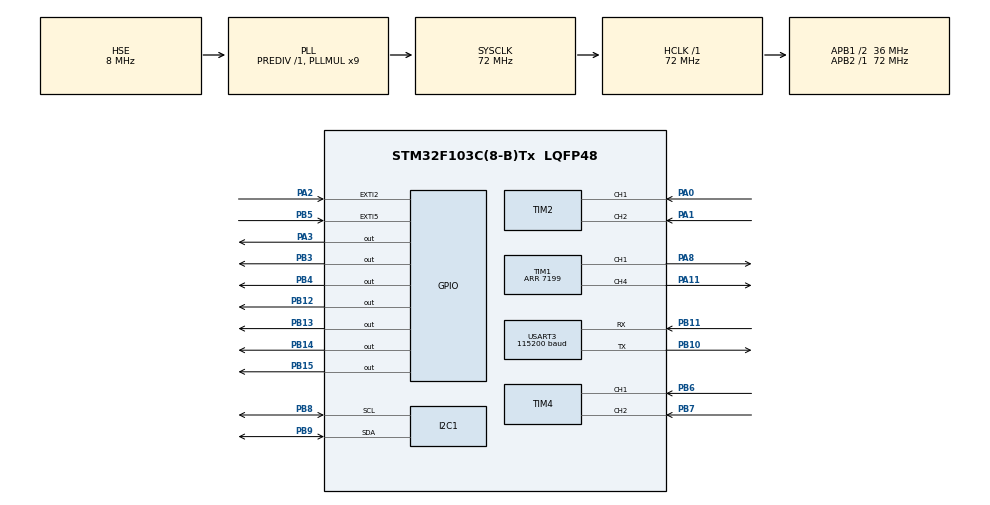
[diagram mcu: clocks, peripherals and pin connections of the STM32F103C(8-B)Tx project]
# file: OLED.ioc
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Mcu.Family=STM32F1
Mcu.Name=STM32F103C(8-B)Tx
Mcu.Package=LQFP48
NVIC.EXTI2_IRQn=true\:0\:0\:false\:false\:true\:true\:true\:true
NVIC.EXTI9_5_IRQn=true\:0\:0\:false\:false\:true\:true\:true\:true
NVIC.PriorityGroup=NVIC_PRIORITYGROUP_4
NVIC.USART3_IRQn=true\:0\:0\:false\:false\:true\:true\:true\:true
PA0-WKUP.Signal=S_TIM2_CH1_ETR
PA1.Signal=S_TIM2_CH2
PA11.Signal=S_TIM1_CH4
PA13.Mode=Serial_Wire
PA13.Signal=SYS_JTMS-SWDIO
PA14.Mode=Serial_Wire
PA14.Signal=SYS_JTCK-SWCLK
PA2.GPIO_ModeDefaultEXTI=GPIO_MODE_IT_RISING_FALLING
PA2.Signal=GPXTI2
PA3.GPIO_Speed=GPIO_SPEED_FREQ_HIGH
PA3.Signal=GPIO_Output
PA8.Signal=S_TIM1_CH1
PB10.Mode=Asynchronous
PB10.Signal=USART3_TX
PB11.Mode=Asynchronous
PB11.Signal=USART3_RX
PB12.Signal=GPIO_Output
PB13.Signal=GPIO_Output
PB14.Signal=GPIO_Output
PB15.Signal=GPIO_Output
PB3.Signal=GPIO_Output
PB4.Signal=GPIO_Output
PB5.GPIO_ModeDefaultEXTI=GPIO_MODE_IT_FALLING
PB5.GPIO_PuPd=GPIO_PULLUP
PB5.Signal=GPXTI5
PB6.Signal=S_TIM4_CH1
PB7.Signal=S_TIM4_CH2
PB8.Mode=I2C
PB8.Signal=I2C1_SCL
PB9.Mode=I2C
PB9.Signal=I2C1_SDA
PC14-OSC32_IN.Mode=LSE-External-Oscillator
PC14-OSC32_IN.Signal=RCC_OSC32_IN
PC15-OSC32_OUT.Mode=LSE-External-Oscillator
PC15-OSC32_OUT.Signal=RCC_OSC32_OUT
PD0-OSC_IN.Mode=HSE-External-Oscillator
PD0-OSC_IN.Signal=RCC_OSC_IN
PD1-OSC_OUT.Mode=HSE-External-Oscillator
PD1-OSC_OUT.Signal=RCC_OSC_OUT
ProjectManager.HeapSize=0x200
ProjectManager.StackSize=0x400
ProjectManager.TargetToolchain=MDK-ARM V5.32
RCC.AHBFreq_Value=72000000
RCC.APB1CLKDivider=RCC_HCLK_DIV2
RCC.APB1Freq_Value=36000000
RCC.APB1TimFreq_Value=72000000
RCC.APB2Freq_Value=72000000
RCC.APB2TimFreq_Value=72000000
RCC.HCLKFreq_Value=72000000
RCC.PLLMUL=RCC_PLL_MUL9
RCC.PLLSourceVirtual=RCC_PLLSOURCE_HSE
RCC.SYSCLKFreq_VALUE=72000000
RCC.SYSCLKSource=RCC_SYSCLKSOURCE_PLLCLK
RCC.USBFreq_Value=72000000
SH.S_TIM1_CH1.0=TIM1_CH1,PWM Generation1 CH1
SH.S_TIM1_CH4.0=TIM1_CH4,PWM Generation4 CH4
SH.S_TIM2_CH1_ETR.0=TIM2_CH1,Encoder_Interface
SH.S_TIM2_CH2.0=TIM2_CH2,Encoder_Interface
SH.S_TIM4_CH1.0=TIM4_CH1,Encoder_Interface
SH.S_TIM4_CH2.0=TIM4_CH2,Encoder_Interface
TIM1.Channel-PWM\ Generation1\ CH1=TIM_CHANNEL_1
TIM1.Channel-PWM\ Generation4\ CH4=TIM_CHANNEL_4
TIM1.Period=7199
TIM1.Pulse-PWM\ Generation1\ CH1=7200
TIM2.EncoderMode=TIM_ENCODERMODE_TI12
TIM3.Prescaler=71
TIM4.EncoderMode=TIM_ENCODERMODE_TI12
USART3.BaudRate=115200
USART3.VirtualMode=VM_ASYNC
VP_TIM3_VS_ClockSourceINT.Mode=Internal
board=custom

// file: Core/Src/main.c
/* USER CODE BEGIN Header */
/**
  ******************************************************************************
  * @file           : main.c
  * @brief          : Main program body
  ******************************************************************************
  * @attention
  *
  * Copyright (c) 2024 STMicroelectronics.
  * All rights reserved.
  *
  * This software is licensed under terms that can be found in the LICENSE file
  * in the root directory of this software component.
  * If no LICENSE file comes with this software, it is provided AS-IS.
  *
  ******************************************************************************
  */
/* USER CODE END Header */
#include "main.h"
#include "i2c.h"
#include "tim.h"
#include "usart.h"
#include "gpio.h"

/* USER CODE BEGIN Includes */
#include "oled.h"
#include "IIC.h"
#include "inv_mpu.h"
#include "inv_mpu_dmp_motion_driver.h"
#include "mpu6050.h"
#if OLED_ENABLE
#include "stdio.h"
#endif
#include "sr04.h"
#include "motor.h"
#include "encoder.h"
#include "pid.h"
#include "comm.h"
#include "comm_echo.h"
#include "cali_store.h"
/* USER CODE END Includes */

/* USER CODE BEGIN PV */
extern float roll;
extern short gyrox, gyroy, gyroz;
extern int Encoder_Left, Encoder_Right;
extern int gyrox_offset;
#if OLED_ENABLE
uint8_t display_buf[32];
#endif
uint32_t sys_tick;
extern float distance;
/* USER CODE END PV */

void SystemClock_Config(void);
/* USER CODE BEGIN PFP */
void Read(void);
#if OLED_ENABLE
static void Display_Poll(void);
#endif
/* If pid.h doesn't declare it, uncomment this:
   extern void Calibrate_Med_Angle(void);                                    */
/* USER CODE END PFP */

int main(void)
{

  /* MCU Configuration--------------------------------------------------------*/

  /* Reset of all peripherals, Initializes the Flash interface and the Systick. */
  HAL_Init();

  /* Configure the system clock */
  SystemClock_Config();

  /* Initialize all configured peripherals */
  MX_GPIO_Init();
#if OLED_ENABLE
  /* I2C1 全工程只有 OLED 在用，关屏时连初始化一起省掉，HAL_I2C 驱动也就不会被链进来 */
  MX_I2C1_Init();
#endif
  MX_TIM3_Init();
  MX_TIM1_Init();
  MX_TIM2_Init();
  MX_TIM4_Init();
  MX_USART3_UART_Init();
  /* USER CODE BEGIN 2 */
#if OLED_ENABLE
  OLED_Init();
  OLED_Clear();
#endif
  MPU_Init();
  mpu_dmp_init();
#if OLED_ENABLE
  OLED_ShowString(0, 0, "Init Sucess", 16);
#endif

  // -----------------------------------------------------------------------
  // STARTUP ORDER (critical!)
  //
  // The MPU INT (EXTI9_5) is what triggers Control(). Once enabled, Control()
  // starts firing every 10 ms and writes PWM to the motors via Load(). So
  // EVERYTHING that Control() depends on must be ready BEFORE we enable INT:
  //   - gyrox_offset must reflect the true settled bias  (Calibrate_Med_Angle)
  //   - encoders must be running                          (HAL_TIM_Encoder_Start)
  //   - motor PWM channels must be initialised to 0      (HAL_TIM_PWM_Start + Load(0,0))
  //   - UART RX must be armed                            (HAL_UART_Receive_IT)
  //
  // EXTI is enabled LAST.
  // -----------------------------------------------------------------------

  // 1. 取得 gyrox 零偏与平衡中值角。优先用 Flash 里存的上次标定结果，
  //    省掉每次开机 18-22 s 的静置等待；Flash 里没有(首次上电/数据损坏)才现场标定。
  //
  //    代价：陀螺零偏本来就随温度和上电次数漂移，复用旧值不如现场标定准。
  //    pid.c 的运行时零偏跟踪器(Update_Gyrox_Bias)会慢慢把差值吸收掉，
  //    但如果发现小车静止时缓慢跑偏，用串口敲 'cali' 重新标定一次即可。
  if (0 == CaliStore_Load())
  {
    Calibrate_Apply(CaliStore_GetMedAngle(), (int)CaliStore_GetGyroxOffset());
#if OLED_ENABLE
    OLED_ShowString(0, 2, "Cali from flash", 12);
#endif
  }
  else
  {
#if OLED_ENABLE
    OLED_ShowString(0, 2, "Calibrating...", 16);
    OLED_ShowString(0, 4, "Hold still ~20s", 12);
#endif
    Calibrate_Med_Angle();
    CaliStore_Save(Med_Angle, (int32_t)gyrox_offset);
  }
#if OLED_ENABLE
  OLED_Clear();
  OLED_ShowString(0, 0, "Ready", 16);
  sprintf((char *)display_buf, "gyrox_off:%d", gyrox_offset);
  OLED_ShowString(0, 2, display_buf, 12);
  HAL_Delay(1000);   // let user briefly see the calibrated offset
  OLED_Clear();
#endif

  // 2. Start encoders so Control() reads valid wheel counts immediately.
  HAL_TIM_Encoder_Start(&htim2, TIM_CHANNEL_ALL);
  HAL_TIM_Encoder_Start(&htim4, TIM_CHANNEL_ALL);

  // 3. Start motor PWM channels, then force duty cycle to 0 (belt + suspenders).
  HAL_TIM_PWM_Start(&htim1, TIM_CHANNEL_1);
  HAL_TIM_PWM_Start(&htim1, TIM_CHANNEL_4);
  Load(0, 0);

  // 4. 初始化通信层(USART3 蓝牙)：武装接收中断 + 启动周期上报。
  //    帧格式参考追觅协议，见 Comm/comm_protocol_readme.md。
  Comm_Init();

  // 5. Arm the MPU data-ready interrupt.
  //
  //    P0: EXTI9_5 回调不再直接跑 Control()，只调用 Imu_DataReady_FromISR() 置标志；
  //        真正的 Control() 在下面的主循环(线程态)执行。因此 DMP 驱动内部即便触发
  //        HAL_Delay(如 mpu_reset_fifo)，SysTick 也能正常递增，不会再死锁。
  //    P1: Calibrate_Med_Angle() 内部已在 ~20s 原始陀螺settling期间关闭 DMP，
  //        标定期不再填充/溢出 FIFO；这里再复位一次 FIFO 作兜底，保证开中断后第一帧干净。
  //
  //    注: EXTI9_5 的 NVIC 优先级(0)保留即可——重活已移出中断，优先级高不再有害。
  mpu_reset_fifo();
  HAL_NVIC_SetPriority(EXTI9_5_IRQn, 0, 0);
  HAL_NVIC_EnableIRQ(EXTI9_5_IRQn);
  /* USER CODE END 2 */

  /* Infinite loop */
  /* USER CODE BEGIN WHILE */
  while (1)
  {
    /* P0: 事件驱动控制。每当 MPU 产生一帧 DMP 数据(EXTI 置标志)，主循环消费并执行
     *     Control()。现在运行在线程态，DMP 驱动内部即使 HAL_Delay 也不会死锁。
     *     RTOS 迁移: 把 Imu_ControlPending() 换成阻塞式信号量 take，此处结构不变。 */
    if (Imu_ControlPending())
    {
      Control();
    }

    /* 蓝牙通信轮询：解析收到的协议帧、按周期上报状态。中断只搬字节，解析在这里做。 */
    Comm_Poll();

#if OLED_ENABLE
    /* 显示节流(~10Hz)。OLED 刷新慢，不能每圈都刷，否则会挤占 10ms 控制时序。 */
    Display_Poll();
#endif
    /* USER CODE END WHILE */

  }
}

void SystemClock_Config(void)
{
  RCC_OscInitTypeDef RCC_OscInitStruct = {0};
  RCC_ClkInitTypeDef RCC_ClkInitStruct = {0};

  /** Initializes the RCC Oscillators according to the specified parameters
  * in the RCC_OscInitTypeDef structure.
  */
  RCC_OscInitStruct.OscillatorType = RCC_OSCILLATORTYPE_HSE;
  RCC_OscInitStruct.HSEState = RCC_HSE_ON;
  RCC_OscInitStruct.HSEPredivValue = RCC_HSE_PREDIV_DIV1;
  RCC_OscInitStruct.HSIState = RCC_HSI_ON;
  RCC_OscInitStruct.PLL.PLLState = RCC_PLL_ON;
  RCC_OscInitStruct.PLL.PLLSource = RCC_PLLSOURCE_HSE;
  RCC_OscInitStruct.PLL.PLLMUL = RCC_PLL_MUL9;
  if (HAL_RCC_OscConfig(&RCC_OscInitStruct) != HAL_OK)
  {
    Error_Handler();
  }

  /** Initializes the CPU, AHB and APB buses clocks
  */
  RCC_ClkInitStruct.ClockType = RCC_CLOCKTYPE_HCLK|RCC_CLOCKTYPE_SYSCLK
                              |RCC_CLOCKTYPE_PCLK1|RCC_CLOCKTYPE_PCLK2;
  RCC_ClkInitStruct.SYSCLKSource = RCC_SYSCLKSOURCE_PLLCLK;
  RCC_ClkInitStruct.AHBCLKDivider = RCC_SYSCLK_DIV1;
  RCC_ClkInitStruct.APB1CLKDivider = RCC_HCLK_DIV2;
  RCC_ClkInitStruct.APB2CLKDivider = RCC_HCLK_DIV1;

  if (HAL_RCC_ClockConfig(&RCC_ClkInitStruct, FLASH_LATENCY_2) != HAL_OK)
  {
    Error_Handler();
  }
}

/* USER CODE BEGIN 4 */

#if OLED_ENABLE

/**
  * @brief  OLED 刷新：每 100ms 最多刷一行
  * @note   一行整页突发写在 100kHz I2C 上约 12ms，已经比 10ms 的控制周期还长，
  *         所以一个 tick 只刷一行；四行一起刷等于制造 50ms 的失控窗口。
  *
  *         命令回显排在传感器行前面：敲下的字符要在 100ms 内出现在屏上才有实时感。
  *         没人敲命令时两行传感器交替刷新，各约 5Hz，读数够看。
  *
  *         版面(每行 16 字符)：
  *           page0  gyrox:<陀螺原始值>
  *           page2  roll:<角度>
  *           page4  ><正在输入的命令>
  *           page6  <最近一条命令/帧的结果>
  */
static void Display_Poll(void)
{
  static uint32_t tick       = 0;
  static uint8_t  sensorLine = 0;

  if ((HAL_GetTick() - tick) < 100U)
  {
    return;
  }
  tick = HAL_GetTick();

  if (0U != CommEcho_TakeInputDirty())
  {
    sprintf((char *)display_buf, ">%s", CommEcho_GetInput());
    OLED_ShowLine(4, (char *)display_buf);
    return;
  }

  if (0U != CommEcho_TakeEventDirty())
  {
    OLED_ShowLine(6, CommEcho_GetEvent());
    return;
  }

  if (0U == sensorLine)
  {
    sprintf((char *)display_buf, "gyrox:%d", gyrox);
    OLED_ShowLine(0, (char *)display_buf);
  }
  else
  {
    sprintf((char *)display_buf, "roll:%.2f", roll);
    OLED_ShowLine(2, (char *)display_buf);
  }

  sensorLine ^= 1U;
}

#endif /* OLED_ENABLE */

/* USER CODE END 4 */

void Error_Handler(void)
{
  __disable_irq();
  while (1)
  {
  }
}
